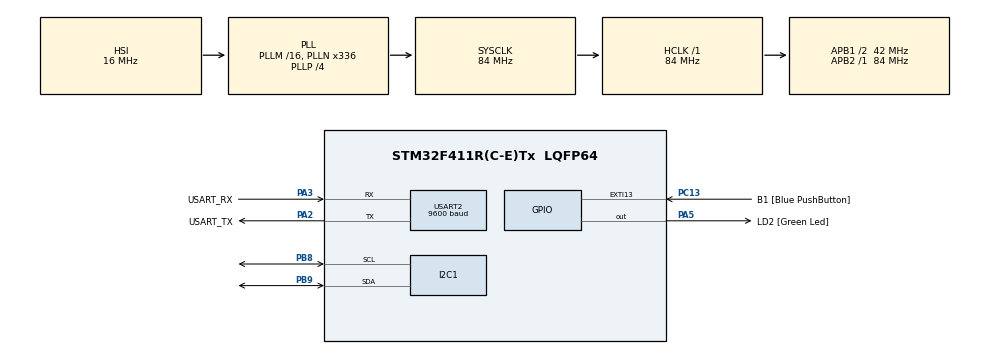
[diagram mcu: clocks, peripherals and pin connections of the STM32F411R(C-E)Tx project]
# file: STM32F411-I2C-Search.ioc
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Mcu.Family=STM32F4
Mcu.Name=STM32F411R(C-E)Tx
Mcu.Package=LQFP64
NVIC.PriorityGroup=NVIC_PRIORITYGROUP_0
PA13.GPIO_Label=TMS
PA13.Signal=SYS_JTMS-SWDIO
PA14.GPIO_Label=TCK
PA14.Signal=SYS_JTCK-SWCLK
PA2.GPIO_Label=USART_TX
PA2.Mode=Asynchronous
PA2.Signal=USART2_TX
PA3.GPIO_Label=USART_RX
PA3.Mode=Asynchronous
PA3.Signal=USART2_RX
PA5.GPIO_Label=LD2 [Green Led]
PA5.Signal=GPIO_Output
PB3.GPIO_Label=SWO
PB3.Signal=SYS_JTDO-SWO
PB8.Mode=I2C
PB8.Signal=I2C1_SCL
PB9.Mode=I2C
PB9.Signal=I2C1_SDA
PC13-ANTI_TAMP.GPIO_Label=B1 [Blue PushButton]
PC13-ANTI_TAMP.GPIO_ModeDefaultEXTI=GPIO_MODE_EVT_RISING
PC13-ANTI_TAMP.Signal=GPXTI13
PC14-OSC32_IN.Signal=RCC_OSC32_IN
PC15-OSC32_OUT.Signal=RCC_OSC32_OUT
PH0\ -\ OSC_IN.Signal=RCC_OSC_IN
PH1\ -\ OSC_OUT.Signal=RCC_OSC_OUT
ProjectManager.HeapSize=0x200
ProjectManager.StackSize=0x400
ProjectManager.TargetToolchain=SW4STM32
RCC.48MHZClocksFreq_Value=84000000
RCC.AHBFreq_Value=84000000
RCC.APB1CLKDivider=RCC_HCLK_DIV2
RCC.APB1Freq_Value=42000000
RCC.APB1TimFreq_Value=84000000
RCC.APB2Freq_Value=84000000
RCC.APB2TimFreq_Value=84000000
RCC.CortexFreq_Value=84000000
RCC.FLatency-AdvancedSettings=FLASH_LATENCY_2
RCC.HCLKFreq_Value=84000000
RCC.HSE_VALUE=8000000
RCC.HSI_VALUE=16000000
RCC.LSE_VALUE=32768
RCC.PLLN=336
RCC.PLLP=RCC_PLLP_DIV4
RCC.SYSCLKFreq_VALUE=84000000
RCC.SYSCLKSource=RCC_SYSCLKSOURCE_PLLCLK
RCC.VCOOutputFreq_Value=336000000
USART2.BaudRate=9600
board=NUCLEO-F411RE

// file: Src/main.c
/**
  ******************************************************************************
  * File Name          : main.c
  * Description        : Main program body
  ******************************************************************************
  *
  * COPYRIGHT(c) 2017 STMicroelectronics
  *
  * Redistribution and use in source and binary forms, with or without modification,
  * are permitted provided that the following conditions are met:
  *   1. Redistributions of source code must retain the above copyright notice,
  *      this list of conditions and the following disclaimer.
  *   2. Redistributions in binary form must reproduce the above copyright notice,
  *      this list of conditions and the following disclaimer in the documentation
  *      and/or other materials provided with the distribution.
  *   3. Neither the name of STMicroelectronics nor the names of its contributors
  *      may be used to endorse or promote products derived from this software
  *      without specific prior written permission.
  *
  * THIS SOFTWARE IS PROVIDED BY THE COPYRIGHT HOLDERS AND CONTRIBUTORS "AS IS"
  * AND ANY EXPRESS OR IMPLIED WARRANTIES, INCLUDING, BUT NOT LIMITED TO, THE
  * IMPLIED WARRANTIES OF MERCHANTABILITY AND FITNESS FOR A PARTICULAR PURPOSE ARE
  * DISCLAIMED. IN NO EVENT SHALL THE COPYRIGHT HOLDER OR CONTRIBUTORS BE LIABLE
  * FOR ANY DIRECT, INDIRECT, INCIDENTAL, SPECIAL, EXEMPLARY, OR CONSEQUENTIAL
  * DAMAGES (INCLUDING, BUT NOT LIMITED TO, PROCUREMENT OF SUBSTITUTE GOODS OR
  * SERVICES; LOSS OF USE, DATA, OR PROFITS; OR BUSINESS INTERRUPTION) HOWEVER
  * CAUSED AND ON ANY THEORY OF LIABILITY, WHETHER IN CONTRACT, STRICT LIABILITY,
  * OR TORT (INCLUDING NEGLIGENCE OR OTHERWISE) ARISING IN ANY WAY OUT OF THE USE
  * OF THIS SOFTWARE, EVEN IF ADVISED OF THE POSSIBILITY OF SUCH DAMAGE.
  *
  ******************************************************************************
  */
#include "main.h"
#include "stm32f4xx_hal.h"

I2C_HandleTypeDef hi2c1;

UART_HandleTypeDef huart2;

/* USER CODE BEGIN PV */
/* Private variables ---------------------------------------------------------*/

/* USER CODE END PV */

void SystemClock_Config(void);
void Error_Handler(void);
static void MX_GPIO_Init(void);
static void MX_I2C1_Init(void);
static void MX_USART2_UART_Init(void);

/* USER CODE BEGIN PFP */
/* Private function prototypes -----------------------------------------------*/

/* USER CODE END PFP */

/* USER CODE BEGIN 0 */
int _write( int file, char *ptr, int len )
{
  HAL_UART_Transmit(&huart2,(uint8_t*) ptr, len, 50000);
  return len;
}

void I2C_Dev_Search(){

	uint8_t FindNum=0;
	 uint8_t FindDev[128];

	printf("*** I2C Device Search Start! ***\n\r");
	for(int i=0; i<0xff;i=i+2){

		uint8_t res=HAL_I2C_Master_Transmit(&hi2c1, i,(uint8_t*)0x00,0,50);
		if(res==HAL_OK){
			FindDev[FindNum]=i;
			FindNum++;
			printf("[0x%X] \t",i);
		}
		else{
			printf("0x%X \t",i);
		}

		if((i+2)%10==0)printf("\n");
		HAL_Delay(1);
	}
	printf("\nDevice Found: %d \n",FindNum);
	for(int i=0; i<FindNum; i++){
		printf("Device No. %d  Address: 0x%X(0x%X) \n",i+1,FindDev[i],FindDev[i]>>1);
	}
	printf("*** I2C Device Search Finished! ***\n\r");
	HAL_Delay(100);

}
/* USER CODE END 0 */

int main(void)
{

  /* MCU Configuration----------------------------------------------------------*/

  /* Reset of all peripherals, Initializes the Flash interface and the Systick. */
  HAL_Init();

  /* Configure the system clock */
  SystemClock_Config();

  /* Initialize all configured peripherals */
  MX_GPIO_Init();
  MX_I2C1_Init();
  MX_USART2_UART_Init();

  /* USER CODE BEGIN 2 */
  printf("Initialize Success!!\n");

  /* USER CODE END 2 */

  /* Infinite loop */
  while (1)
  {

  /* USER CODE BEGIN 3 */
	  I2C_Dev_Search();
	  HAL_Delay(1000);
  }
  /* USER CODE END 3 */

}

/** System Clock Configuration
*/
void SystemClock_Config(void)
{

  RCC_OscInitTypeDef RCC_OscInitStruct;
  RCC_ClkInitTypeDef RCC_ClkInitStruct;

    /**Configure the main internal regulator output voltage
    */
  __HAL_RCC_PWR_CLK_ENABLE();

  __HAL_PWR_VOLTAGESCALING_CONFIG(PWR_REGULATOR_VOLTAGE_SCALE1);

    /**Initializes the CPU, AHB and APB busses clocks
    */
  RCC_OscInitStruct.OscillatorType = RCC_OSCILLATORTYPE_HSI;
  RCC_OscInitStruct.HSIState = RCC_HSI_ON;
  RCC_OscInitStruct.HSICalibrationValue = 16;
  RCC_OscInitStruct.PLL.PLLState = RCC_PLL_ON;
  RCC_OscInitStruct.PLL.PLLSource = RCC_PLLSOURCE_HSI;
  RCC_OscInitStruct.PLL.PLLM = 16;
  RCC_OscInitStruct.PLL.PLLN = 336;
  RCC_OscInitStruct.PLL.PLLP = RCC_PLLP_DIV4;
  RCC_OscInitStruct.PLL.PLLQ = 4;
  if (HAL_RCC_OscConfig(&RCC_OscInitStruct) != HAL_OK)
  {
    Error_Handler();
  }

    /**Initializes the CPU, AHB and APB busses clocks
    */
  RCC_ClkInitStruct.ClockType = RCC_CLOCKTYPE_HCLK|RCC_CLOCKTYPE_SYSCLK
                              |RCC_CLOCKTYPE_PCLK1|RCC_CLOCKTYPE_PCLK2;
  RCC_ClkInitStruct.SYSCLKSource = RCC_SYSCLKSOURCE_PLLCLK;
  RCC_ClkInitStruct.AHBCLKDivider = RCC_SYSCLK_DIV1;
  RCC_ClkInitStruct.APB1CLKDivider = RCC_HCLK_DIV2;
  RCC_ClkInitStruct.APB2CLKDivider = RCC_HCLK_DIV1;

  if (HAL_RCC_ClockConfig(&RCC_ClkInitStruct, FLASH_LATENCY_2) != HAL_OK)
  {
    Error_Handler();
  }

    /**Configure the Systick interrupt time
    */
  HAL_SYSTICK_Config(HAL_RCC_GetHCLKFreq()/1000);

    /**Configure the Systick
    */
  HAL_SYSTICK_CLKSourceConfig(SYSTICK_CLKSOURCE_HCLK);

  /* SysTick_IRQn interrupt configuration */
  HAL_NVIC_SetPriority(SysTick_IRQn, 0, 0);
}

/* I2C1 init function */
static void MX_I2C1_Init(void)
{

  hi2c1.Instance = I2C1;
  hi2c1.Init.ClockSpeed = 100000;
  hi2c1.Init.DutyCycle = I2C_DUTYCYCLE_2;
  hi2c1.Init.OwnAddress1 = 0;
  hi2c1.Init.AddressingMode = I2C_ADDRESSINGMODE_7BIT;
  hi2c1.Init.DualAddressMode = I2C_DUALADDRESS_DISABLE;
  hi2c1.Init.OwnAddress2 = 0;
  hi2c1.Init.GeneralCallMode = I2C_GENERALCALL_DISABLE;
  hi2c1.Init.NoStretchMode = I2C_NOSTRETCH_DISABLE;
  if (HAL_I2C_Init(&hi2c1) != HAL_OK)
  {
    Error_Handler();
  }

}

/* USART2 init function */
static void MX_USART2_UART_Init(void)
{

  huart2.Instance = USART2;
  huart2.Init.BaudRate = 9600;
  huart2.Init.WordLength = UART_WORDLENGTH_8B;
  huart2.Init.StopBits = UART_STOPBITS_1;
  huart2.Init.Parity = UART_PARITY_NONE;
  huart2.Init.Mode = UART_MODE_TX_RX;
  huart2.Init.HwFlowCtl = UART_HWCONTROL_NONE;
  huart2.Init.OverSampling = UART_OVERSAMPLING_16;
  if (HAL_UART_Init(&huart2) != HAL_OK)
  {
    Error_Handler();
  }

}

/** Configure pins as
        * Analog
        * Input
        * Output
        * EVENT_OUT
        * EXTI
*/
static void MX_GPIO_Init(void)
{

  GPIO_InitTypeDef GPIO_InitStruct;

  /* GPIO Ports Clock Enable */
  __HAL_RCC_GPIOC_CLK_ENABLE();
  __HAL_RCC_GPIOH_CLK_ENABLE();
  __HAL_RCC_GPIOA_CLK_ENABLE();
  __HAL_RCC_GPIOB_CLK_ENABLE();

  /*Configure GPIO pin : B1_Pin */
  GPIO_InitStruct.Pin = B1_Pin;
  GPIO_InitStruct.Mode = GPIO_MODE_EVT_RISING;
  GPIO_InitStruct.Pull = GPIO_NOPULL;
  HAL_GPIO_Init(B1_GPIO_Port, &GPIO_InitStruct);

  /*Configure GPIO pin : LD2_Pin */
  GPIO_InitStruct.Pin = LD2_Pin;
  GPIO_InitStruct.Mode = GPIO_MODE_OUTPUT_PP;
  GPIO_InitStruct.Pull = GPIO_NOPULL;
  GPIO_InitStruct.Speed = GPIO_SPEED_FREQ_LOW;
  HAL_GPIO_Init(LD2_GPIO_Port, &GPIO_InitStruct);

  /*Configure GPIO pin Output Level */
  HAL_GPIO_WritePin(LD2_GPIO_Port, LD2_Pin, GPIO_PIN_RESET);

}

void Error_Handler(void)
{
  while(1)
  {
  }
}

/************************ (C) COPYRIGHT STMicroelectronics *****END OF FILE****/
